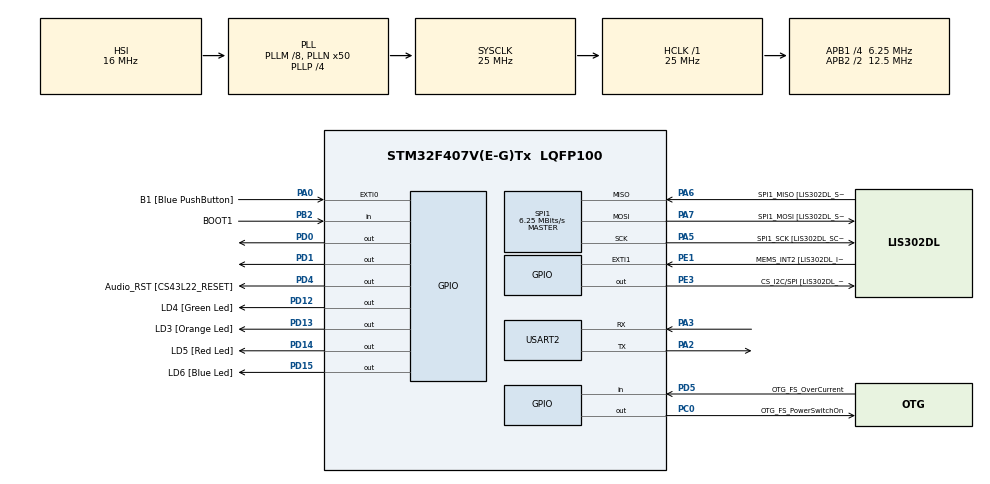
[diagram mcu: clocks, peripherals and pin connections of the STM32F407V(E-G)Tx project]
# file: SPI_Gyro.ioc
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Mcu.Family=STM32F4
Mcu.Name=STM32F407V(E-G)Tx
Mcu.Package=LQFP100
NVIC.PriorityGroup=NVIC_PRIORITYGROUP_0
NVIC.TIM6_DAC_IRQn=true\:0\:0\:false\:false\:true\:true\:true\:true
PA0-WKUP.GPIO_Label=B1 [Blue PushButton]
PA0-WKUP.Signal=GPXTI0
PA10.GPIO_Label=OTG_FS_ID
PA10.GPIO_Mode=GPIO_MODE_AF_PP
PA10.GPIO_PuPd=GPIO_NOPULL
PA10.GPIO_Speed=GPIO_SPEED_FREQ_LOW
PA10.Signal=USB_OTG_FS_ID
PA11.GPIO_Label=OTG_FS_DM
PA11.GPIO_Mode=GPIO_MODE_AF_PP
PA11.GPIO_PuPd=GPIO_NOPULL
PA11.GPIO_Speed=GPIO_SPEED_FREQ_LOW
PA11.Signal=USB_OTG_FS_DM
PA12.GPIO_Label=OTG_FS_DP
PA12.GPIO_Mode=GPIO_MODE_AF_PP
PA12.GPIO_PuPd=GPIO_NOPULL
PA12.GPIO_Speed=GPIO_SPEED_FREQ_LOW
PA12.Signal=USB_OTG_FS_DP
PA13.GPIO_Label=SWDIO
PA13.Signal=SYS_JTMS-SWDIO
PA14.GPIO_Label=SWCLK
PA14.Signal=SYS_JTCK-SWCLK
PA2.Mode=Asynchronous
PA2.Signal=USART2_TX
PA3.Mode=Asynchronous
PA3.Signal=USART2_RX
PA4.GPIO_Label=I2S3_WS [CS43L22_LRCK]
PA4.GPIO_Mode=GPIO_MODE_AF_PP
PA4.GPIO_PuPd=GPIO_NOPULL
PA4.GPIO_Speed=GPIO_SPEED_FREQ_LOW
PA4.Signal=I2S3_WS
PA5.GPIO_Label=SPI1_SCK [LIS302DL_SCL/SPC]
PA5.GPIO_Mode=GPIO_MODE_AF_PP
PA5.GPIO_PuPd=GPIO_NOPULL
PA5.GPIO_Speed=GPIO_SPEED_FREQ_LOW
PA5.Mode=Full_Duplex_Master
PA5.Signal=SPI1_SCK
PA6.GPIO_Label=SPI1_MISO [LIS302DL_SDO]
PA6.GPIO_Mode=GPIO_MODE_AF_PP
PA6.GPIO_PuPd=GPIO_NOPULL
PA6.GPIO_Speed=GPIO_SPEED_FREQ_LOW
PA6.Mode=Full_Duplex_Master
PA6.Signal=SPI1_MISO
PA7.GPIO_Label=SPI1_MOSI [LIS302DL_SDA/SDI/SDO]
PA7.GPIO_Mode=GPIO_MODE_AF_PP
PA7.GPIO_PuPd=GPIO_NOPULL
PA7.GPIO_Speed=GPIO_SPEED_FREQ_LOW
PA7.Mode=Full_Duplex_Master
PA7.Signal=SPI1_MOSI
PA9.GPIO_Label=VBUS_FS
PA9.GPIO_Mode=GPIO_MODE_INPUT
PA9.GPIO_PuPd=GPIO_NOPULL
PA9.Signal=USB_OTG_FS_VBUS
PB10.GPIO_Label=CLK_IN [MP45DT02_CLK]
PB10.GPIO_Mode=GPIO_MODE_AF_PP
PB10.GPIO_PuPd=GPIO_NOPULL
PB10.GPIO_Speed=GPIO_SPEED_FREQ_LOW
PB10.Signal=I2S2_CK
PB2.GPIO_Label=BOOT1
PB2.GPIO_Mode=GPIO_MODE_INPUT
PB2.GPIO_PuPd=GPIO_NOPULL
PB2.Signal=GPIO_Input
PB3.GPIO_Label=SWO
PB3.Signal=SYS_JTDO-SWO
PB6.GPIO_Label=Audio_SCL [CS43L22_SCL]
PB6.GPIO_Mode=GPIO_MODE_AF_OD
PB6.GPIO_PuPd=GPIO_NOPULL
PB6.GPIO_Speed=GPIO_SPEED_FREQ_LOW
PB6.Signal=I2C1_SCL
PB9.GPIO_Label=Audio_SDA [CS43L22_SDA]
PB9.GPIO_Mode=GPIO_MODE_AF_OD
PB9.GPIO_PuPd=GPIO_NOPULL
PB9.GPIO_Speed=GPIO_SPEED_FREQ_LOW
PB9.Signal=I2C1_SDA
PC0.GPIO_Label=OTG_FS_PowerSwitchOn
PC0.GPIO_PuPd=GPIO_NOPULL
PC0.GPIO_Speed=GPIO_SPEED_FREQ_LOW
PC0.PinState=GPIO_PIN_SET
PC0.Signal=GPIO_Output
PC10.GPIO_Label=I2S3_SCK [CS43L22_SCLK]
PC10.GPIO_Mode=GPIO_MODE_AF_PP
PC10.GPIO_PuPd=GPIO_NOPULL
PC10.GPIO_Speed=GPIO_SPEED_FREQ_LOW
PC10.Signal=I2S3_CK
PC12.GPIO_Label=I2S3_SD [CS43L22_SDIN]
PC12.GPIO_Mode=GPIO_MODE_AF_PP
PC12.GPIO_PuPd=GPIO_NOPULL
PC12.GPIO_Speed=GPIO_SPEED_FREQ_LOW
PC12.Signal=I2S3_SD
PC14-OSC32_IN.GPIO_Label=PC14-OSC32_IN
PC14-OSC32_IN.Signal=RCC_OSC32_IN
PC15-OSC32_OUT.GPIO_Label=PC15-OSC32_OUT
PC15-OSC32_OUT.Signal=RCC_OSC32_OUT
PC3.GPIO_Label=PDM_OUT [MP45DT02_DOUT]
PC3.GPIO_Mode=GPIO_MODE_AF_PP
PC3.GPIO_PuPd=GPIO_NOPULL
PC3.GPIO_Speed=GPIO_SPEED_FREQ_LOW
PC3.Signal=I2S2_SD
PC7.GPIO_Label=I2S3_MCK [CS43L22_MCLK]
PC7.GPIO_Mode=GPIO_MODE_AF_PP
PC7.GPIO_PuPd=GPIO_NOPULL
PC7.GPIO_Speed=GPIO_SPEED_FREQ_LOW
PC7.Signal=I2S3_MCK
PD0.Signal=GPIO_Output
PD1.Signal=GPIO_Output
PD12.GPIO_Label=LD4 [Green Led]
PD12.GPIO_PuPd=GPIO_NOPULL
PD12.GPIO_Speed=GPIO_SPEED_FREQ_LOW
PD12.Signal=GPIO_Output
PD13.GPIO_Label=LD3 [Orange Led]
PD13.GPIO_PuPd=GPIO_NOPULL
PD13.GPIO_Speed=GPIO_SPEED_FREQ_LOW
PD13.Signal=GPIO_Output
PD14.GPIO_Label=LD5 [Red Led]
PD14.GPIO_PuPd=GPIO_NOPULL
PD14.GPIO_Speed=GPIO_SPEED_FREQ_LOW
PD14.Signal=GPIO_Output
PD15.GPIO_Label=LD6 [Blue Led]
PD15.GPIO_PuPd=GPIO_NOPULL
PD15.GPIO_Speed=GPIO_SPEED_FREQ_LOW
PD15.Signal=GPIO_Output
PD4.GPIO_Label=Audio_RST [CS43L22_RESET]
PD4.GPIO_PuPd=GPIO_NOPULL
PD4.GPIO_Speed=GPIO_SPEED_FREQ_LOW
PD4.Signal=GPIO_Output
PD5.GPIO_Label=OTG_FS_OverCurrent
PD5.GPIO_Mode=GPIO_MODE_INPUT
PD5.GPIO_PuPd=GPIO_NOPULL
PD5.Signal=GPIO_Input
PE1.GPIO_Label=MEMS_INT2 [LIS302DL_INT2]
PE1.GPIO_ModeDefaultEXTI=GPIO_MODE_EVT_RISING
PE1.GPIO_PuPd=GPIO_NOPULL
PE1.Signal=GPXTI1
PE3.GPIO_Label=CS_I2C/SPI [LIS302DL_CS_I2C/SPI]
PE3.GPIO_PuPd=GPIO_NOPULL
PE3.GPIO_Speed=GPIO_SPEED_FREQ_LOW
PE3.Signal=GPIO_Output
PH0-OSC_IN.GPIO_Label=PH0-OSC_IN
PH0-OSC_IN.Signal=RCC_OSC_IN
PH1-OSC_OUT.GPIO_Label=PH1-OSC_OUT
PH1-OSC_OUT.Signal=RCC_OSC_OUT
ProjectManager.HeapSize=0x200
ProjectManager.StackSize=0x400
ProjectManager.TargetToolchain=STM32CubeIDE
RCC.48MHZClocksFreq_Value=14285714.285714285
RCC.AHBFreq_Value=25000000
RCC.APB1CLKDivider=RCC_HCLK_DIV4
RCC.APB1Freq_Value=6250000
RCC.APB1TimFreq_Value=12500000
RCC.APB2CLKDivider=RCC_HCLK_DIV2
RCC.APB2Freq_Value=12500000
RCC.APB2TimFreq_Value=25000000
RCC.CortexFreq_Value=25000000
RCC.HCLKFreq_Value=25000000
RCC.HSE_VALUE=8000000
RCC.HSI_VALUE=16000000
RCC.LSE_VALUE=32768
RCC.PLLM=8
RCC.PLLN=50
RCC.PLLP=RCC_PLLP_DIV4
RCC.PLLQ=7
RCC.SYSCLKFreq_VALUE=25000000
RCC.SYSCLKSource=RCC_SYSCLKSOURCE_PLLCLK
RCC.VCOOutputFreq_Value=100000000
SPI1.BaudRatePrescaler=SPI_BAUDRATEPRESCALER_2
SPI1.CLKPhase=SPI_PHASE_1EDGE
SPI1.CLKPolarity=SPI_POLARITY_LOW
SPI1.CalculateBaudRate=6.25 MBits/s
SPI1.Direction=SPI_DIRECTION_2LINES
SPI1.Mode=SPI_MODE_MASTER
SPI1.VirtualType=VM_MASTER
TIM6.Period=1279
TIM6.Prescaler=24
TIM6.TIM_MasterOutputTrigger=TIM_TRGO_UPDATE
TIM7.Period=50
TIM7.Prescaler=24
USART2.VirtualMode=VM_ASYNC
VP_TIM6_VS_ClockSourceINT.Mode=Enable_Timer
VP_TIM7_VS_ClockSourceINT.Mode=Enable_Timer
board=STM32F407G-DISC1

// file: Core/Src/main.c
/* USER CODE BEGIN Header */
/**
  ******************************************************************************
  * @file           : main.c
  * @brief          : Main program body
  ******************************************************************************
  * @attention
  *
  * Copyright (c) 2023 STMicroelectronics.
  * All rights reserved.
  *
  * This software is licensed under terms that can be found in the LICENSE file
  * in the root directory of this software component.
  * If no LICENSE file comes with this software, it is provided AS-IS.
  *
  ******************************************************************************
  */
/* USER CODE END Header */
#include "main.h"

SPI_HandleTypeDef hspi1;

TIM_HandleTypeDef htim6;
TIM_HandleTypeDef htim7;

UART_HandleTypeDef huart2;

void SystemClock_Config(void);
static void MX_GPIO_Init(void);
static void MX_SPI1_Init(void);
static void MX_USART2_UART_Init(void);
static void MX_TIM6_Init(void);
static void MX_TIM7_Init(void);
/* USER CODE BEGIN PFP */
void Accel_SPI_Write(uint8_t addr, uint8_t data);
uint8_t Accel_SPI_Read(uint8_t addr);
int16_t Convert_To_Val(uint16_t val);

/* USER CODE END PFP */

/* USER CODE BEGIN 0 */
uint16_t reqpulses = 0;
uint16_t pulse_val = 0;
uint16_t current_position = 0;
uint16_t new_position = 0;
/* USER CODE END 0 */

int main(void)
{

  /* MCU Configuration--------------------------------------------------------*/

  /* Reset of all peripherals, Initializes the Flash interface and the Systick. */

	HAL_Init();

  /* Configure the system clock */
  SystemClock_Config();

  /* Initialize all configured peripherals */
  MX_GPIO_Init();
  MX_SPI1_Init();
  MX_USART2_UART_Init();
  MX_TIM6_Init();
  MX_TIM7_Init();
  /* USER CODE BEGIN 2 */
  HAL_TIM_Base_Start_IT(&htim6);
  /* USER CODE END 2 */

  /* Infinite loop */
  /* USER CODE BEGIN WHILE */
  HAL_GPIO_WritePin(GPIOE, GPIO_PIN_3, GPIO_PIN_SET);
  uint8_t THRESH_HIGH = 20;
  int8_t THRESH_LOW = -20;

  Accel_SPI_Write(0x20, 0x47);
  Accel_SPI_Write(0x21, 0x00);
  Accel_SPI_Write(0x22, 0x00);

  uint8_t CR1 = Accel_SPI_Read(0x20);

  printf("\r\nThe value of CR1 is: 0x%x\r\n", CR1); //get your printf properly routed
  HAL_GPIO_WritePin(GPIOD, GPIO_PIN_1, GPIO_PIN_SET);
  while (1)
  {
	  /*uint16_t data_readX, data_readY, data_readZ;

	  data_readX = (uint16_t) Accel_SPI_Read(0x29);
	  data_readY = (uint16_t) Accel_SPI_Read(0x2B);
	  data_readZ = (uint16_t) Accel_SPI_Read(0x2D);*/

	  int8_t data_readX, data_readY, data_readZ;

	  data_readX = Accel_SPI_Read(0x29);
	  data_readY = Accel_SPI_Read(0x2B);
	  data_readZ = Accel_SPI_Read(0x2D);

	  /*  data_readX = Convert_To_Val(data_readX) + 18;
	  data_readY = Convert_To_Val(data_readY);
	  data_readZ = Convert_To_Val(data_readZ);*/

	  printf("X: %d\tY: %d\tZ: %d\r\n",data_readX, data_readY, data_readZ);

	  if(data_readX <=-33 && data_readX >-65){
		  HAL_TIM_Base_Stop_IT(&htim6);
		  switch(current_position){
		  case 0:
			  current_position = 0;
			  break;
		  case 1:
			  HAL_GPIO_WritePin(GPIOD, GPIO_PIN_1, GPIO_PIN_RESET);
			  reqpulses = 200;
			  current_position = 0;
			  break;
		  case 2:
			  HAL_GPIO_WritePin(GPIOD, GPIO_PIN_1, GPIO_PIN_RESET);
			  reqpulses = 400;
			  current_position = 0;
			  break;
		  case 3:
			  HAL_GPIO_WritePin(GPIOD, GPIO_PIN_1, GPIO_PIN_RESET);
			  reqpulses = 600;
			  current_position = 0;
			  break;
		  }
		 HAL_TIM_Base_Start_IT(&htim6);
		 while(pulse_val == 0){

		 }

		  pulse_val =0;
	  }
	  else if(data_readX > -33 && data_readX <= 0){
		 HAL_TIM_Base_Stop_IT(&htim6);
		  switch(current_position){
		  case 0:
			  HAL_GPIO_WritePin(GPIOD, GPIO_PIN_1, GPIO_PIN_SET);
			  reqpulses = 200;
			  current_position = 1;
			  break;
		  case 1:
			  current_position = 1;
			  break;
		  case 2:
			  HAL_GPIO_WritePin(GPIOD, GPIO_PIN_1, GPIO_PIN_RESET);
			  reqpulses = 200;
			  current_position = 1;
			  break;
		  case 3:
			  HAL_GPIO_WritePin(GPIOD, GPIO_PIN_1, GPIO_PIN_RESET);
			  reqpulses = 400;
			  current_position = 1;
			  break;
		  }
		 HAL_TIM_Base_Start_IT(&htim6);
		 while(pulse_val == 0){

		 		 }

		  pulse_val =0;
	  }
	  else if(data_readX <65 && data_readX >33){
		  HAL_TIM_Base_Stop_IT(&htim6);
		  switch(current_position){
		  case 0:
			  HAL_GPIO_WritePin(GPIOD, GPIO_PIN_1, GPIO_PIN_RESET);
			  reqpulses = 200;
			  current_position = 3;
			  break;
		  case 1:
			  HAL_GPIO_WritePin(GPIOD, GPIO_PIN_1, GPIO_PIN_SET);
			  reqpulses = 400;
			  current_position = 3;
			  break;
		  case 2:
			  HAL_GPIO_WritePin(GPIOD, GPIO_PIN_1, GPIO_PIN_SET);
			  reqpulses = 200;
			  current_position = 3;
			  break;
		  case 3:
			  current_position = 3;
			  break;
		  }
		  HAL_TIM_Base_Start_IT(&htim6);
		  while(pulse_val == 0){

		  		 }

		  pulse_val =0;
	  }
	  else if(data_readX > 0 && data_readX <= 33){
		 // HAL_TIM_Base_Stop_IT(&htim6);
		  switch(current_position){
		  case 0:
			  HAL_GPIO_WritePin(GPIOD, GPIO_PIN_1, GPIO_PIN_SET);
			  reqpulses = 400;
			  current_position = 2;
			  break;
		  case 1:
			  HAL_GPIO_WritePin(GPIOD, GPIO_PIN_1, GPIO_PIN_SET);
			  reqpulses = 200;
			  current_position = 2;
			  break;
		  case 2:
			  current_position = 2;
			  break;
		  case 3:
			  HAL_GPIO_WritePin(GPIOD, GPIO_PIN_1, GPIO_PIN_RESET);
			  reqpulses = 200;
			  current_position = 2;
			  break;
		  }
		 HAL_TIM_Base_Start_IT(&htim6);
		 while(pulse_val == 0){

		 		 }

		  pulse_val =0;
	  }
	  else{
		  //HAL_TIM_Base_Stop_IT(&htim6);
		  switch(current_position){
		  		  case 0:
		  			  HAL_GPIO_WritePin(GPIOD, GPIO_PIN_1, GPIO_PIN_SET);
		  			  reqpulses = 200;
		  			  current_position = 2;
		  			  break;
		  		  case 1:
		  			  HAL_GPIO_WritePin(GPIOD, GPIO_PIN_1, GPIO_PIN_SET);
		  			  reqpulses = 100;
		  			  current_position = 2;
		  			  break;
		  		  case 2:
		  			  current_position = 2;
		  			  break;
		  		  case 3:
		  			  HAL_GPIO_WritePin(GPIOD, GPIO_PIN_1, GPIO_PIN_RESET);
		  			  reqpulses = 100;
		  			  current_position = 2;
		  			  break;
		  		  case 4:
		  			  HAL_GPIO_WritePin(GPIOD, GPIO_PIN_1, GPIO_PIN_RESET);
		  			  reqpulses = 200;
		  			  current_position = 2;
		  			  break;
		  		  }
		  		 HAL_TIM_Base_Start_IT(&htim6);
		  		while(pulse_val == 0){

		  				 }

				  pulse_val =0;
	  }

	  // Switch on LEDs based on the acceleration value obtained
	  /*if ((data_readX != 0) && (data_readY != 0)){
		  if (data_readX > THRESH_HIGH){
			  //GPIOD->ODR |= GPIO_ODR_OD14;
			  //GPIOD->ODR &= ~(GPIO_ODR_OD12 | GPIO_ODR_OD13 | GPIO_ODR_OD15);
			  HAL_GPIO_WritePin(GPIOD, GPIO_PIN_12, GPIO_PIN_RESET);
			  HAL_GPIO_WritePin(GPIOD, GPIO_PIN_13, GPIO_PIN_RESET);
			  HAL_GPIO_WritePin(GPIOD, GPIO_PIN_14, GPIO_PIN_SET);
			  HAL_GPIO_WritePin(GPIOD, GPIO_PIN_15, GPIO_PIN_RESET);
		  }
		  else if (data_readX < THRESH_LOW){
			  // GPIOD->ODR |= GPIO_ODR_OD12;
			  //GPIOD->ODR &= ~(GPIO_ODR_OD14 | GPIO_ODR_OD13 | GPIO_ODR_OD15);
			  HAL_GPIO_WritePin(GPIOD, GPIO_PIN_12, GPIO_PIN_SET);
			  HAL_GPIO_WritePin(GPIOD, GPIO_PIN_13, GPIO_PIN_RESET);
			  HAL_GPIO_WritePin(GPIOD, GPIO_PIN_14, GPIO_PIN_RESET);
			  HAL_GPIO_WritePin(GPIOD, GPIO_PIN_15, GPIO_PIN_RESET);
		  }
		  if (data_readY > THRESH_HIGH){
			  //GPIOD->ODR |= GPIO_ODR_OD13;
			  //GPIOD->ODR &= ~(GPIO_ODR_OD12 | GPIO_ODR_OD14 | GPIO_ODR_OD15);
			  HAL_GPIO_WritePin(GPIOD, GPIO_PIN_12, GPIO_PIN_RESET);
			  HAL_GPIO_WritePin(GPIOD, GPIO_PIN_13, GPIO_PIN_SET);
			  HAL_GPIO_WritePin(GPIOD, GPIO_PIN_14, GPIO_PIN_RESET);
			  HAL_GPIO_WritePin(GPIOD, GPIO_PIN_15, GPIO_PIN_RESET);
		  }
		  else if (data_readY < THRESH_LOW ){
			  //GPIOD->ODR |= GPIO_ODR_OD15;
			  // GPIOD->ODR &= ~(GPIO_ODR_OD12 | GPIO_ODR_OD13 | GPIO_ODR_OD14);
			  HAL_GPIO_WritePin(GPIOD, GPIO_PIN_12, GPIO_PIN_RESET);
			  HAL_GPIO_WritePin(GPIOD, GPIO_PIN_13, GPIO_PIN_RESET);
			  HAL_GPIO_WritePin(GPIOD, GPIO_PIN_14, GPIO_PIN_RESET);
			  HAL_GPIO_WritePin(GPIOD, GPIO_PIN_15, GPIO_PIN_SET);
		  }
	  }
	  else
	  {
		  HAL_GPIO_WritePin(GPIOD, GPIO_PIN_12, GPIO_PIN_SET);
		  HAL_GPIO_WritePin(GPIOD, GPIO_PIN_13, GPIO_PIN_SET);
		  HAL_GPIO_WritePin(GPIOD, GPIO_PIN_14, GPIO_PIN_SET);
		  HAL_GPIO_WritePin(GPIOD, GPIO_PIN_15, GPIO_PIN_SET);

	  }*/
	 // HAL_TIM_Base_Start_IT(&htim6);
	  HAL_Delay(1000);
    /* USER CODE END WHILE */

  }
}

void SystemClock_Config(void)
{
  RCC_OscInitTypeDef RCC_OscInitStruct = {0};
  RCC_ClkInitTypeDef RCC_ClkInitStruct = {0};

  /** Configure the main internal regulator output voltage
  */
  __HAL_RCC_PWR_CLK_ENABLE();
  __HAL_PWR_VOLTAGESCALING_CONFIG(PWR_REGULATOR_VOLTAGE_SCALE1);

  /** Initializes the RCC Oscillators according to the specified parameters
  * in the RCC_OscInitTypeDef structure.
  */
  RCC_OscInitStruct.OscillatorType = RCC_OSCILLATORTYPE_HSI;
  RCC_OscInitStruct.HSIState = RCC_HSI_ON;
  RCC_OscInitStruct.HSICalibrationValue = RCC_HSICALIBRATION_DEFAULT;
  RCC_OscInitStruct.PLL.PLLState = RCC_PLL_ON;
  RCC_OscInitStruct.PLL.PLLSource = RCC_PLLSOURCE_HSI;
  RCC_OscInitStruct.PLL.PLLM = 8;
  RCC_OscInitStruct.PLL.PLLN = 50;
  RCC_OscInitStruct.PLL.PLLP = RCC_PLLP_DIV4;
  RCC_OscInitStruct.PLL.PLLQ = 7;
  if (HAL_RCC_OscConfig(&RCC_OscInitStruct) != HAL_OK)
  {
    Error_Handler();
  }

  /** Initializes the CPU, AHB and APB buses clocks
  */
  RCC_ClkInitStruct.ClockType = RCC_CLOCKTYPE_HCLK|RCC_CLOCKTYPE_SYSCLK
                              |RCC_CLOCKTYPE_PCLK1|RCC_CLOCKTYPE_PCLK2;
  RCC_ClkInitStruct.SYSCLKSource = RCC_SYSCLKSOURCE_PLLCLK;
  RCC_ClkInitStruct.AHBCLKDivider = RCC_SYSCLK_DIV1;
  RCC_ClkInitStruct.APB1CLKDivider = RCC_HCLK_DIV4;
  RCC_ClkInitStruct.APB2CLKDivider = RCC_HCLK_DIV2;

  if (HAL_RCC_ClockConfig(&RCC_ClkInitStruct, FLASH_LATENCY_0) != HAL_OK)
  {
    Error_Handler();
  }
}

static void MX_SPI1_Init(void)
{

  /* SPI1 parameter configuration*/
  hspi1.Instance = SPI1;
  hspi1.Init.Mode = SPI_MODE_MASTER;
  hspi1.Init.Direction = SPI_DIRECTION_2LINES;
  hspi1.Init.DataSize = SPI_DATASIZE_8BIT;
  hspi1.Init.CLKPolarity = SPI_POLARITY_LOW;
  hspi1.Init.CLKPhase = SPI_PHASE_1EDGE;
  hspi1.Init.NSS = SPI_NSS_SOFT;
  hspi1.Init.BaudRatePrescaler = SPI_BAUDRATEPRESCALER_2;
  hspi1.Init.FirstBit = SPI_FIRSTBIT_MSB;
  hspi1.Init.TIMode = SPI_TIMODE_DISABLE;
  hspi1.Init.CRCCalculation = SPI_CRCCALCULATION_DISABLE;
  hspi1.Init.CRCPolynomial = 10;
  if (HAL_SPI_Init(&hspi1) != HAL_OK)
  {
    Error_Handler();
  }

}

static void MX_TIM6_Init(void)
{

  TIM_MasterConfigTypeDef sMasterConfig = {0};

  htim6.Instance = TIM6;
  htim6.Init.Prescaler = 24;
  htim6.Init.CounterMode = TIM_COUNTERMODE_UP;
  htim6.Init.Period = 1279;
  htim6.Init.AutoReloadPreload = TIM_AUTORELOAD_PRELOAD_DISABLE;
  if (HAL_TIM_Base_Init(&htim6) != HAL_OK)
  {
    Error_Handler();
  }
  sMasterConfig.MasterOutputTrigger = TIM_TRGO_UPDATE;
  sMasterConfig.MasterSlaveMode = TIM_MASTERSLAVEMODE_DISABLE;
  if (HAL_TIMEx_MasterConfigSynchronization(&htim6, &sMasterConfig) != HAL_OK)
  {
    Error_Handler();
  }

}

static void MX_TIM7_Init(void)
{

  TIM_MasterConfigTypeDef sMasterConfig = {0};

  htim7.Instance = TIM7;
  htim7.Init.Prescaler = 24;
  htim7.Init.CounterMode = TIM_COUNTERMODE_UP;
  htim7.Init.Period = 50;
  htim7.Init.AutoReloadPreload = TIM_AUTORELOAD_PRELOAD_DISABLE;
  if (HAL_TIM_Base_Init(&htim7) != HAL_OK)
  {
    Error_Handler();
  }
  sMasterConfig.MasterOutputTrigger = TIM_TRGO_RESET;
  sMasterConfig.MasterSlaveMode = TIM_MASTERSLAVEMODE_DISABLE;
  if (HAL_TIMEx_MasterConfigSynchronization(&htim7, &sMasterConfig) != HAL_OK)
  {
    Error_Handler();
  }

}

static void MX_USART2_UART_Init(void)
{

  huart2.Instance = USART2;
  huart2.Init.BaudRate = 115200;
  huart2.Init.WordLength = UART_WORDLENGTH_8B;
  huart2.Init.StopBits = UART_STOPBITS_1;
  huart2.Init.Parity = UART_PARITY_NONE;
  huart2.Init.Mode = UART_MODE_TX_RX;
  huart2.Init.HwFlowCtl = UART_HWCONTROL_NONE;
  huart2.Init.OverSampling = UART_OVERSAMPLING_16;
  if (HAL_UART_Init(&huart2) != HAL_OK)
  {
    Error_Handler();
  }

}

static void MX_GPIO_Init(void)
{
  GPIO_InitTypeDef GPIO_InitStruct = {0};

  /* GPIO Ports Clock Enable */
  __HAL_RCC_GPIOE_CLK_ENABLE();
  __HAL_RCC_GPIOC_CLK_ENABLE();
  __HAL_RCC_GPIOH_CLK_ENABLE();
  __HAL_RCC_GPIOA_CLK_ENABLE();
  __HAL_RCC_GPIOB_CLK_ENABLE();
  __HAL_RCC_GPIOD_CLK_ENABLE();

  /*Configure GPIO pin Output Level */
  HAL_GPIO_WritePin(CS_I2C_SPI_GPIO_Port, CS_I2C_SPI_Pin, GPIO_PIN_RESET);

  /*Configure GPIO pin Output Level */
  HAL_GPIO_WritePin(OTG_FS_PowerSwitchOn_GPIO_Port, OTG_FS_PowerSwitchOn_Pin, GPIO_PIN_SET);

  /*Configure GPIO pin Output Level */
  HAL_GPIO_WritePin(GPIOD, LD4_Pin|LD3_Pin|LD5_Pin|LD6_Pin
                          |GPIO_PIN_0|GPIO_PIN_1|Audio_RST_Pin, GPIO_PIN_RESET);

  /*Configure GPIO pin : CS_I2C_SPI_Pin */
  GPIO_InitStruct.Pin = CS_I2C_SPI_Pin;
  GPIO_InitStruct.Mode = GPIO_MODE_OUTPUT_PP;
  GPIO_InitStruct.Pull = GPIO_NOPULL;
  GPIO_InitStruct.Speed = GPIO_SPEED_FREQ_LOW;
  HAL_GPIO_Init(CS_I2C_SPI_GPIO_Port, &GPIO_InitStruct);

  /*Configure GPIO pin : OTG_FS_PowerSwitchOn_Pin */
  GPIO_InitStruct.Pin = OTG_FS_PowerSwitchOn_Pin;
  GPIO_InitStruct.Mode = GPIO_MODE_OUTPUT_PP;
  GPIO_InitStruct.Pull = GPIO_NOPULL;
  GPIO_InitStruct.Speed = GPIO_SPEED_FREQ_LOW;
  HAL_GPIO_Init(OTG_FS_PowerSwitchOn_GPIO_Port, &GPIO_InitStruct);

  /*Configure GPIO pin : PDM_OUT_Pin */
  GPIO_InitStruct.Pin = PDM_OUT_Pin;
  GPIO_InitStruct.Mode = GPIO_MODE_AF_PP;
  GPIO_InitStruct.Pull = GPIO_NOPULL;
  GPIO_InitStruct.Speed = GPIO_SPEED_FREQ_LOW;
  GPIO_InitStruct.Alternate = GPIO_AF5_SPI2;
  HAL_GPIO_Init(PDM_OUT_GPIO_Port, &GPIO_InitStruct);

  /*Configure GPIO pin : B1_Pin */
  GPIO_InitStruct.Pin = B1_Pin;
  GPIO_InitStruct.Mode = GPIO_MODE_IT_RISING;
  GPIO_InitStruct.Pull = GPIO_NOPULL;
  HAL_GPIO_Init(B1_GPIO_Port, &GPIO_InitStruct);

  /*Configure GPIO pin : I2S3_WS_Pin */
  GPIO_InitStruct.Pin = I2S3_WS_Pin;
  GPIO_InitStruct.Mode = GPIO_MODE_AF_PP;
  GPIO_InitStruct.Pull = GPIO_NOPULL;
  GPIO_InitStruct.Speed = GPIO_SPEED_FREQ_LOW;
  GPIO_InitStruct.Alternate = GPIO_AF6_SPI3;
  HAL_GPIO_Init(I2S3_WS_GPIO_Port, &GPIO_InitStruct);

  /*Configure GPIO pin : BOOT1_Pin */
  GPIO_InitStruct.Pin = BOOT1_Pin;
  GPIO_InitStruct.Mode = GPIO_MODE_INPUT;
  GPIO_InitStruct.Pull = GPIO_NOPULL;
  HAL_GPIO_Init(BOOT1_GPIO_Port, &GPIO_InitStruct);

  /*Configure GPIO pin : CLK_IN_Pin */
  GPIO_InitStruct.Pin = CLK_IN_Pin;
  GPIO_InitStruct.Mode = GPIO_MODE_AF_PP;
  GPIO_InitStruct.Pull = GPIO_NOPULL;
  GPIO_InitStruct.Speed = GPIO_SPEED_FREQ_LOW;
  GPIO_InitStruct.Alternate = GPIO_AF5_SPI2;
  HAL_GPIO_Init(CLK_IN_GPIO_Port, &GPIO_InitStruct);

  /*Configure GPIO pins : LD4_Pin LD3_Pin LD5_Pin LD6_Pin
                           PD0 PD1 Audio_RST_Pin */
  GPIO_InitStruct.Pin = LD4_Pin|LD3_Pin|LD5_Pin|LD6_Pin
                          |GPIO_PIN_0|GPIO_PIN_1|Audio_RST_Pin;
  GPIO_InitStruct.Mode = GPIO_MODE_OUTPUT_PP;
  GPIO_InitStruct.Pull = GPIO_NOPULL;
  GPIO_InitStruct.Speed = GPIO_SPEED_FREQ_LOW;
  HAL_GPIO_Init(GPIOD, &GPIO_InitStruct);

  /*Configure GPIO pins : I2S3_MCK_Pin I2S3_SCK_Pin I2S3_SD_Pin */
  GPIO_InitStruct.Pin = I2S3_MCK_Pin|I2S3_SCK_Pin|I2S3_SD_Pin;
  GPIO_InitStruct.Mode = GPIO_MODE_AF_PP;
  GPIO_InitStruct.Pull = GPIO_NOPULL;
  GPIO_InitStruct.Speed = GPIO_SPEED_FREQ_LOW;
  GPIO_InitStruct.Alternate = GPIO_AF6_SPI3;
  HAL_GPIO_Init(GPIOC, &GPIO_InitStruct);

  /*Configure GPIO pin : VBUS_FS_Pin */
  GPIO_InitStruct.Pin = VBUS_FS_Pin;
  GPIO_InitStruct.Mode = GPIO_MODE_INPUT;
  GPIO_InitStruct.Pull = GPIO_NOPULL;
  HAL_GPIO_Init(VBUS_FS_GPIO_Port, &GPIO_InitStruct);

  /*Configure GPIO pins : OTG_FS_ID_Pin OTG_FS_DM_Pin OTG_FS_DP_Pin */
  GPIO_InitStruct.Pin = OTG_FS_ID_Pin|OTG_FS_DM_Pin|OTG_FS_DP_Pin;
  GPIO_InitStruct.Mode = GPIO_MODE_AF_PP;
  GPIO_InitStruct.Pull = GPIO_NOPULL;
  GPIO_InitStruct.Speed = GPIO_SPEED_FREQ_LOW;
  GPIO_InitStruct.Alternate = GPIO_AF10_OTG_FS;
  HAL_GPIO_Init(GPIOA, &GPIO_InitStruct);

  /*Configure GPIO pin : OTG_FS_OverCurrent_Pin */
  GPIO_InitStruct.Pin = OTG_FS_OverCurrent_Pin;
  GPIO_InitStruct.Mode = GPIO_MODE_INPUT;
  GPIO_InitStruct.Pull = GPIO_NOPULL;
  HAL_GPIO_Init(OTG_FS_OverCurrent_GPIO_Port, &GPIO_InitStruct);

  /*Configure GPIO pins : Audio_SCL_Pin Audio_SDA_Pin */
  GPIO_InitStruct.Pin = Audio_SCL_Pin|Audio_SDA_Pin;
  GPIO_InitStruct.Mode = GPIO_MODE_AF_OD;
  GPIO_InitStruct.Pull = GPIO_NOPULL;
  GPIO_InitStruct.Speed = GPIO_SPEED_FREQ_LOW;
  GPIO_InitStruct.Alternate = GPIO_AF4_I2C1;
  HAL_GPIO_Init(GPIOB, &GPIO_InitStruct);

  /*Configure GPIO pin : MEMS_INT2_Pin */
  GPIO_InitStruct.Pin = MEMS_INT2_Pin;
  GPIO_InitStruct.Mode = GPIO_MODE_EVT_RISING;
  GPIO_InitStruct.Pull = GPIO_NOPULL;
  HAL_GPIO_Init(MEMS_INT2_GPIO_Port, &GPIO_InitStruct);

}

/* USER CODE BEGIN 4 */

void Accel_SPI_Write(uint8_t addr, uint8_t data){
	uint8_t txdata[2];
	txdata[0] = addr;
	txdata[1] = data;

	HAL_GPIO_WritePin(GPIOE, GPIO_PIN_3, GPIO_PIN_RESET);
	HAL_SPI_Transmit(&hspi1, txdata, 2, HAL_MAX_DELAY);
	HAL_GPIO_WritePin(GPIOE, GPIO_PIN_3, GPIO_PIN_SET);
}

uint8_t Accel_SPI_Read(uint8_t addr){
	uint8_t txdata[2];
	uint8_t rxdata[2];

	txdata[0] = 0x80 | addr;
	txdata[1] = 0x00;

	HAL_GPIO_WritePin(GPIOE, GPIO_PIN_3, GPIO_PIN_RESET);
	HAL_SPI_TransmitReceive(&hspi1, txdata, rxdata, 2, HAL_MAX_DELAY);
	HAL_GPIO_WritePin(GPIOE, GPIO_PIN_3, GPIO_PIN_SET);

	return rxdata[1];
}

//PUTCHAR PROTOTYPE
/*int __io_putchar(int ch){
	//place your implementation of putchar here
	//e.g. write a character to USART1 and loop until the end of tranmission
	//HAL_UART_Transmit(&huart2, (uint8_t *)&ch, 1, 0xFFFF);
	ITM_SendChar(ch);

	return ch;
}*/

int _write(int file, char *ptr, int len)
{
	int DataIdx;

	for (DataIdx = 0; DataIdx < len; DataIdx++)
	{
		ITM_SendChar(*ptr++);
	}
	return len;
}

void HAL_TIM_PeriodElapsedCallback(TIM_HandleTypeDef *htim)
{
if( reqpulses > 0){
		HAL_GPIO_WritePin(GPIOD, GPIO_PIN_0, 1);
		//HAL_Delay(.001);
		HAL_TIM_Base_Start(&htim7);
		while( !(TIM7->SR & TIM_SR_UIF) );
		TIM7->SR = 0;
		HAL_TIM_Base_Stop(&htim7);
		HAL_GPIO_WritePin(GPIOD, GPIO_PIN_0, 0);
		reqpulses--;
}
pulse_val = 1;
	//HAL_TIM_Base_Stop_IT(&htim6);
}

/* USER CODE END 4 */

void Error_Handler(void)
{
  __disable_irq();
  while (1)
  {
  }
}
